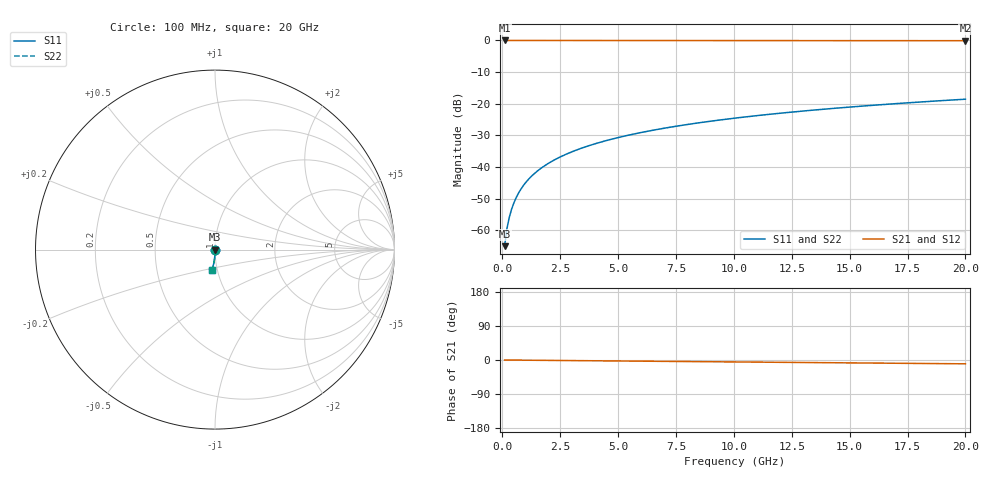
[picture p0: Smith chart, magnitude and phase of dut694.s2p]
! Touchstone file exported from HFSS 2026.1.0
!  File:  C:/ffzhzh/LocalFiles/Ansys_Project_Files/temp_train_TSV_694_1783027712_4048.aedt
!  Generated:  05:30:20 AM Jul  3, 2026
!  Design:  TSV
!  Project:  temp_train_TSV_694_1783027712_4048
! Variables:
!  h_bsmrdl = 2um
!  h_ox = 20um
!  h_rdl = 5um
!  h_sub = 81.48um
!  h_tmrdl = 5um
!  h_tsv = 81.48um
!  h_via = 3um
!  l_bsmrdl = 300um
!  l_sub = 414.4um
!  l_tmrdl = 200um
!  m_sub = 200um
!  pitch = 16.85um
!  r_tsv = 7.2um
!  s_tmrdl = 10um
!  w_bsmrdl = 18um
!  w_sub = 500um
!  w_tmrdl = 12um
!  x_tsv_center1 = 206um
!  x_tsv_center2 = 524um
!  x_tsv_center3 = 736um
!  x_tsv_center4 = 1054um
!  x_tsv_center5 = 1266um
!  x_tsv_center6 = 1584um
# GHz S MA R 50.000000
! Terminal data exported
! Port[1] = TSV1_1_T1
! Port[2] = TSV1_1_T2
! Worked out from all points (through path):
!   200 points, 100 MHz to 20 GHz, reference 50 ohm
!   highest |S21| = 0.00 dB at 100 MHz (marker M1); lowest = -0.1 dB at 20 GHz (marker M2)
!   group delay of S21, straight-line fit = 1.4 ps
!   lowest |S11| = -65.1 dB at 100 MHz (marker M3), VSWR 1.00, Z = 50 - j0.0503 ohm
!   |S11| at or under -10 dB: start of sweep to end of sweep
!   |S22| runs from -65.1 to -18.6 dB; largest |S21 - S12| = 3.4e-15
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0.1  0.0005584 -64.3  0.9998 -0.1  0.9998 -0.1  0.0005584 -64.3
! Gamma 0 0 0 0
! Port Impedance 50 0 50 0
0.2  0.001055 -74.9  0.9997 -0.1  0.9997 -0.1  0.001055 -74.9
0.3  0.001584 -78.4  0.9997 -0.2  0.9997 -0.2  0.001584 -78.4
0.4  0.002133 -80.1  0.9996 -0.2  0.9996 -0.2  0.002133 -80.1
0.5  0.002697 -81.3  0.9996 -0.3  0.9996 -0.3  0.002697 -81.3
0.7  0.00385 -82.9  0.9995 -0.4  0.9995 -0.4  0.00385 -82.9
0.8  0.004432 -83.5  0.9995 -0.4  0.9995 -0.4  0.004432 -83.5
1  0.005601 -84.5  0.9994 -0.5  0.9994 -0.5  0.005601 -84.5
1.2  0.006771 -85.3  0.9993 -0.6  0.9993 -0.6  0.006771 -85.3
1.4  0.00794 -85.9  0.9993 -0.7  0.9993 -0.7  0.00794 -85.9
1.7  0.009694 -86.7  0.9992 -0.9  0.9992 -0.9  0.009694 -86.7
2  0.01145 -87.3  0.9992 -1.0  0.9992 -1.0  0.01145 -87.3
2.7  0.01555 -88.2  0.999 -1.4  0.999 -1.4  0.01555 -88.2
3.5  0.02025 -89.0  0.9988 -1.8  0.9988 -1.8  0.02025 -89.0
4.2  0.02438 -89.6  0.9986 -2.2  0.9986 -2.2  0.02438 -89.6
5  0.02911 -90.2  0.9984 -2.6  0.9984 -2.6  0.02911 -90.2
6.8  0.0398 -91.4  0.9978 -3.5  0.9978 -3.5  0.0398 -91.4
8.3  0.04872 -92.4  0.9972 -4.2  0.9972 -4.2  0.04872 -92.4
10.1  0.05942 -93.4  0.9965 -5.1  0.9965 -5.1  0.05942 -93.4
13.4  0.07898 -95.3  0.9948 -6.8  0.9948 -6.8  0.07898 -95.3
16.7  0.09844 -97.1  0.9928 -8.4  0.9928 -8.4  0.09844 -97.1
20  0.1178 -98.8  0.9904 -10.1  0.9904 -10.1  0.1178 -98.8
